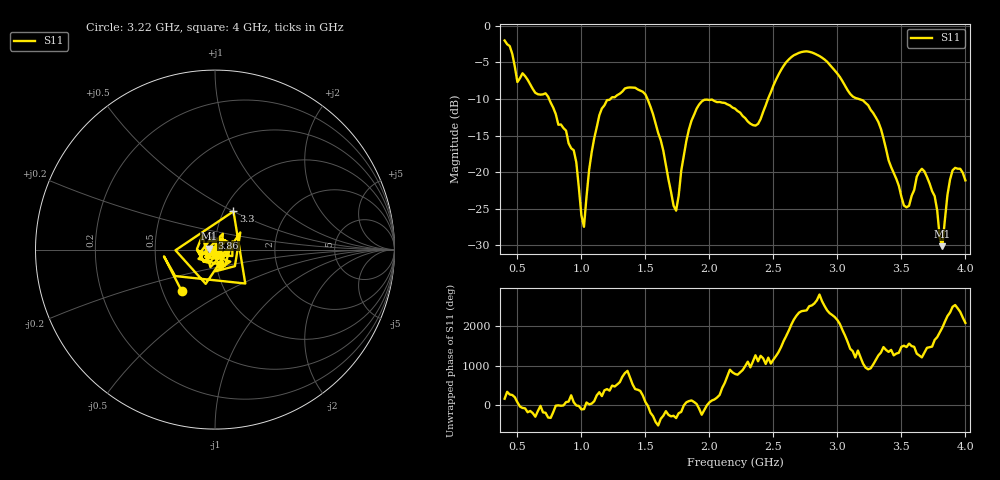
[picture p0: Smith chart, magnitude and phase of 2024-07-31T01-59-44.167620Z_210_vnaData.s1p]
!Created with skrf (http://scikit-rf.org).
# Hz S RI R 50.0
!freq ReS11 ImS11
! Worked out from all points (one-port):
!   181 points, 400 MHz to 4 GHz, reference 50 ohm
!   lowest |S11| = -30.1 dB at 3.82 GHz (marker M1), VSWR 1.06, Z = 47 + j0.481 ohm
!   |S11| at or under -10 dB: 747.7 MHz to 1.226 GHz (478.8 MHz wide, 48.5 % of centre); 1.516 GHz to 2.458 GHz (941.7 MHz wide, 47.4 % of centre); 3.167 GHz to end of sweep
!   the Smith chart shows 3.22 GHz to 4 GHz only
!   S11 on the Smith chart (normalised r, x): 3.22 GHz: 0.63, -0.32; 3.3 GHz: 1.11, +0.50; 3.86 GHz: 0.96, +0.13; 4 GHz: 1.05, -0.17
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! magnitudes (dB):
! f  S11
! 400 MHz  -2.0
! 500 MHz  -7.7
! 720 MHz  -9.2
! 860 MHz  -14.0
! 960 MHz  -18.6
! 1.02 GHz  -27.4
! 1.06 GHz  -19.7
! 1.14 GHz  -12.2
! 1.3 GHz  -9.3
! 1.5 GHz  -9.4
! 1.72 GHz  -24.6
! 1.76 GHz  -23.2
! 1.84 GHz  -14.2
! 1.92 GHz  -10.7
! 2.2 GHz  -11.3
! 2.38 GHz  -13.4
! 2.66 GHz  -4.0
! 2.88 GHz  -4.4
! 3.1 GHz  -9.3
! 3.22 GHz  -10.5
! 3.3 GHz  -12.5
! 3.56 GHz  -24.6
! 3.68 GHz  -19.9
! 3.76 GHz  -23.3
! 3.82 GHz  -30.1
! 3.86 GHz  -23.1
! 3.92 GHz  -19.4
! 4 GHz  -21.1
